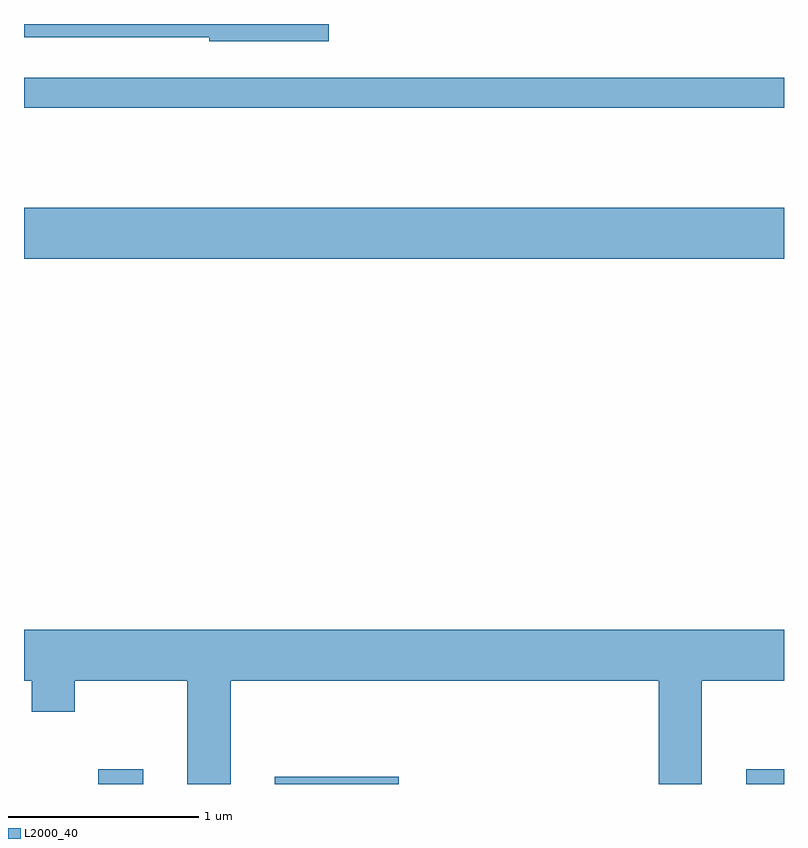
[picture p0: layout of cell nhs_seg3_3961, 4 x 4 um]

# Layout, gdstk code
import gdstk
lib = gdstk.Library(unit=1e-6, precision=1e-09)
def R(c, l, rs):  # rectangles x0, y0, x1, y1
    for r in rs: c.add(gdstk.rectangle(r[:2], r[2:], *l))
def P(c, l, *ps):  # polygons
    for p in ps: c.add(gdstk.Polygon(p, *l))
L2000_40 = (2000, 40)

nhs_seg3_3961 = lib.new_cell('nhs_seg3_3961')
R(nhs_seg3_3961, L2000_40, [(302.003,1149.892,302.239,1149.969), (302.931,1149.892,303.584,1149.929), (305.411,1149.892,305.611,1149.969), (301.611,1152.656,305.611,1152.924), (301.611,1153.451,305.611,1153.609)])
P(nhs_seg3_3961, L2000_40, [(303.214,1153.892),(301.611,1153.892),(301.611,1153.821),(302.586,1153.821),(302.586,1153.801),(303.214,1153.801)],
  [(302.699,1150.436),(304.951,1150.436),(304.951,1149.892),(305.179,1149.892),(305.179,1150.436),(305.611,1150.436),(305.611,1150.704),(301.611,1150.704),(301.611,1150.436),(301.651,1150.436),(301.651,1150.271),(301.879,1150.271),(301.879,1150.436),(302.471,1150.436),(302.471,1149.892),(302.699,1149.892)])

lib.write_gds('nhs_seg3_3961.gds')
